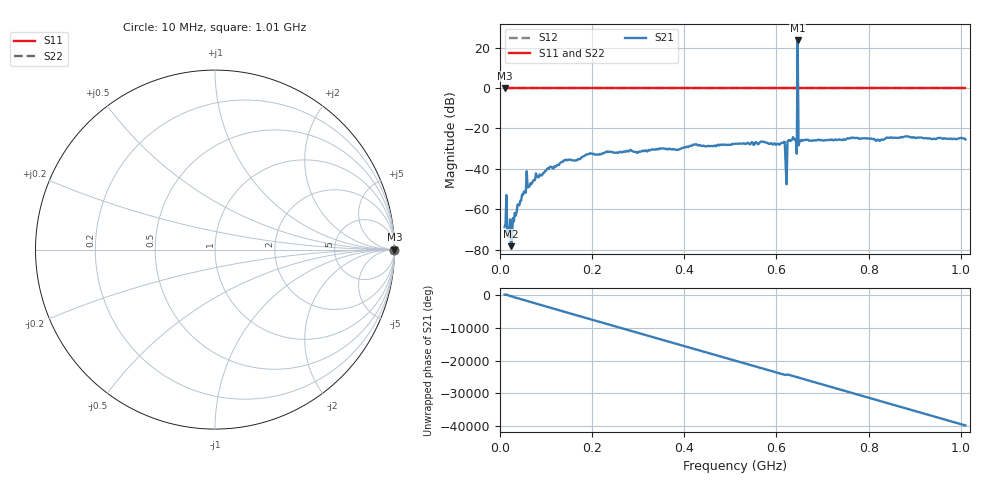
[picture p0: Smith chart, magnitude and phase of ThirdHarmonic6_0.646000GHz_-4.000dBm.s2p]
! 8/15/2025 9:24:14 PM
! C:\ANRITSUVNA\TEMP\TEMP.S2P
! CHANNEL.1
! TR.MEASUREMENT
! RAW.DATA
! RF.CORRECTION.OFF
! AVERAGING.OFF
! IF.BANDWIDTH: 5KHZ
! SWEEPTYPE:  FREQ.SWEEP(Linear)
! Reference Plane Port Info
! PORT:  PORT1  PORT2
! DISTANCE:  0  m  0  m
! TIME:  0  s  0  s
! PHASE.OFFSET:  0  deg.  0  deg.
! LOSS:  0  dB  0  dB
! REF.LOSS:  0  dB  0  dB
! REF.FREQ:  0  Hz  0  Hz
! Power Info
! POWER:  -20  dBm  -20  dBm
! EFF.POWER:  -20  dBm  -20  dBm
! SOURCE.ATTEN:  0  dB  0  dB
! TEST.ATTEN:  0  dB  0  dB
# GHZ S RI R 50.0
! FREQ.GHZ  S11RE  S11IM  S21RE  S21IM  S12RE  S12IM  S22RE  S22IM
!; PortSelection: Port_12
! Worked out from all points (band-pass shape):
!   501 points, 10 MHz to 1.01 GHz, reference 50 ohm
!   highest |S21| = 23.50 dB at 646 MHz (marker M1); lowest = -78.2 dB at 24 MHz (marker M2)
!   |S21| within 3 dB of the highest: 645.8929 MHz to 646.1156 MHz (222.7 kHz wide, 0.0345 % of centre)
!   lowest |S11| = 0.0 dB at 10 MHz (marker M3)
!   |S11| at or under -10 dB: nowhere
!   |S22| runs from 0.0 to 0.0 dB; largest |S21 - S12| = 16
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0.01  1 0  -8.02e-05 0.000357  1 0  1 0
0.018  1 0  -0.000222 -0.000275  1 0  1 0
0.02  1 0  -0.000189 8.1e-05  1 0  1 0
0.024  1 0  0.000112 4.98e-05  1 0  1 0
0.036  1 0  -0.00083 -0.000152  1 0  1 0
0.062  1 0  -0.00289 -0.00207  1 0  1 0
0.108  1 0  -0.00847 0.0073  1 0  1 0
0.178  1 0  -0.0194 -0.00352  1 0  1 0
0.344  1 0  0.0296 -0.00729  1 0  1 0
0.51  1 0  -0.0383 0.017  1 0  1 0
0.614  1 0  0.0247 -0.0363  1 0  1 0
0.618  1 0  -0.0374 0.0274  1 0  1 0
0.624  1 0  -0.00965 -0.0469  1 0  1 0
0.628  1 0  -0.00567 0.0511  1 0  1 0
0.64  1 0  0.0457 -0.0257  1 0  1 0
0.642  1 0  -0.0173 -0.0508  1 0  1 0
0.646  1 0  -14.29 4.448  1 0  1 0
0.65  1 0  0.0122 -0.0467  1 0  1 0
0.652  1 0  -0.0437 -0.022  1 0  1 0
0.678  1 0  -0.0265 -0.0416  1 0  1 0
0.844  1 0  0.0461 0.0359  1 0  1 0
1.01  1 0  -0.0534 -0.00615  1 0  1 0
